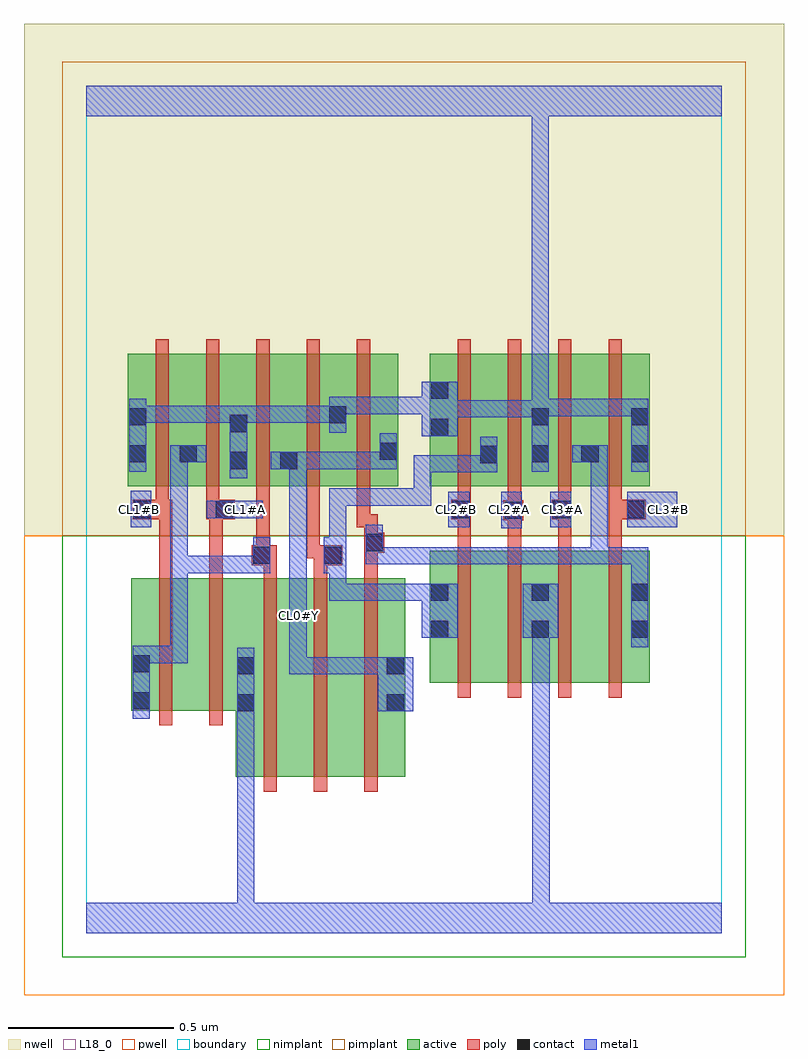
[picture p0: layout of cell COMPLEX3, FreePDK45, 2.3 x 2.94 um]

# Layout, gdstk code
import gdstk
lib = gdstk.Library(unit=1e-6, precision=1e-09)
def R(c, l, rs):  # rectangles x0, y0, x1, y1
    for r in rs: c.add(gdstk.rectangle(r[:2], r[2:], *l))
def A(c, l, x, y, w, h, nx, ny, dx, dy):  # array of equal rectangles
    R(c, l, [(x+i*dx, y+j*dy, x+i*dx+w, y+j*dy+h) for i in range(nx) for j in range(ny)])
active = (1, 0)
pwell = (2, 0)
nwell = (3, 0)
nimplant = (4, 0)
pimplant = (5, 0)
poly = (9, 0)
contact = (10, 0)
metal1 = (11, 0)
L18_0 = (18, 0)
boundary = (235, 0)

complex3 = lib.new_cell('COMPLEX3')
A(complex3, active, 0.126, 1.35, 0.212, 0.4, 3, 1, 0.152, 0)
R(complex3, active, [(0.452,0.472,0.632,1.072), (0.632,0.472,0.784,1.072), (0.784,0.472,0.964,1.072), (0.904,0.556,0.964,1.072), (0.452,0.66,0.512,0.838), (0.136,0.672,0.196,1.072), (0.136,0.672,0.316,1.072), (0.316,0.672,0.512,1.072), (1.038,0.756,1.098,1.156), (1.038,0.756,1.218,1.156), (1.218,0.756,1.402,1.156), (1.342,0.756,1.402,1.156), (1.342,0.756,1.522,1.156), (1.522,0.756,1.702,1.156), (1.642,0.756,1.702,1.156), (0.126,1.35,0.186,1.75), (0.278,1.35,0.338,1.644), (0.43,1.35,0.49,1.75), (0.582,1.35,0.79,1.75), (0.582,1.35,0.642,1.644), (0.73,1.35,0.79,1.75), (0.73,1.35,0.942,1.75), (0.882,1.35,0.942,1.644), (1.038,1.35,1.098,1.75), (1.038,1.35,1.246,1.75), (1.186,1.35,1.402,1.75), (1.342,1.35,1.402,1.75), (1.342,1.35,1.552,1.75), (1.492,1.35,1.702,1.75), (1.642,1.35,1.702,1.75), (1.186,1.416,1.246,1.644), (1.492,1.418,1.552,1.644)])
R(complex3, pwell, [(-0.188,-0.188,2.108,1.2)])
R(complex3, nwell, [(-0.188,1.2,2.108,2.748)])
R(complex3, nimplant, [(-0.072,-0.072,1.992,1.2)])
R(complex3, pimplant, [(-0.072,1.2,1.992,2.632)])
A(complex3, poly, 0.536, 0.428, 0.04, 0.688, 3, 1, 0.152, 0)
A(complex3, poly, 1.122, 0.712, 0.04, 0.488, 4, 2, 0.152, 0.594)
A(complex3, poly, 0.21, 1.306, 0.04, 0.488, 5, 1, 0.152, 0)
R(complex3, poly, [(0.22,0.628,0.26,1.116), (0.372,0.628,0.412,1.116), (0.22,1.076,0.26,1.29), (0.372,1.076,0.412,1.29), (0.536,1.076,0.576,1.152), (0.688,1.076,0.728,1.152), (0.84,1.076,0.88,1.19), (0.5,1.112,0.576,1.172), (0.688,1.112,0.774,1.172), (0.514,1.132,0.554,1.172), (0.514,1.132,0.554,1.172), (0.514,1.132,0.554,1.346), (0.666,1.132,0.728,1.172), (0.666,1.132,0.706,1.346), (0.688,1.132,0.728,1.172), (0.84,1.15,0.9,1.21), (1.122,1.16,1.162,1.29), (1.274,1.16,1.314,1.288), (1.426,1.16,1.466,1.29), (1.578,1.16,1.618,1.29), (0.84,1.17,0.88,1.266), (0.818,1.226,0.858,1.346), (0.818,1.226,0.88,1.266), (1.26,1.248,1.32,1.308), (1.274,1.248,1.314,1.288), (1.274,1.248,1.314,1.288), (0.14,1.25,0.26,1.31), (0.362,1.25,0.448,1.31), (0.372,1.25,0.412,1.29), (0.372,1.25,0.412,1.29), (1.102,1.25,1.162,1.31), (1.122,1.25,1.162,1.29), (1.122,1.25,1.162,1.29), (1.406,1.25,1.466,1.31), (1.426,1.25,1.466,1.29), (1.426,1.25,1.466,1.29), (1.578,1.25,1.618,1.29), (1.578,1.25,1.618,1.29), (1.578,1.25,1.69,1.31), (1.274,1.268,1.314,1.346), (0.21,1.27,0.25,1.346), (0.21,1.27,0.25,1.31), (0.21,1.27,0.25,1.31), (0.362,1.27,0.402,1.346), (1.122,1.27,1.162,1.346), (1.426,1.27,1.466,1.346), (1.578,1.27,1.618,1.346)])
A(complex3, contact, 1.346, 1.422, 0.052, 0.052, 3, 1, 0.15, 0)
R(complex3, contact, [(0.456,0.67,0.508,0.722), (0.908,0.67,0.96,0.722), (0.14,0.676,0.192,0.728), (0.456,0.782,0.508,0.834), (0.908,0.782,0.96,0.834), (0.14,0.788,0.192,0.84), (1.042,0.892,1.094,0.944), (1.346,0.892,1.398,0.944), (1.646,0.892,1.698,0.944), (1.042,1.004,1.094,1.056), (1.346,1.004,1.398,1.056), (1.646,1.004,1.698,1.056), (0.504,1.116,0.556,1.168), (0.718,1.116,0.77,1.168), (0.844,1.154,0.896,1.206), (1.264,1.252,1.316,1.304), (0.144,1.254,0.196,1.306), (0.392,1.254,0.444,1.306), (1.106,1.254,1.158,1.306), (1.41,1.254,1.462,1.306), (1.634,1.254,1.686,1.306), (0.434,1.402,0.486,1.454), (0.586,1.402,0.638,1.454), (1.19,1.42,1.242,1.472), (0.13,1.422,0.182,1.474), (0.282,1.422,0.334,1.474), (0.886,1.43,0.938,1.482), (1.042,1.502,1.094,1.554), (0.434,1.514,0.486,1.566), (0.13,1.534,0.182,1.586), (1.346,1.534,1.398,1.586), (1.646,1.534,1.698,1.586), (0.734,1.54,0.786,1.592), (1.042,1.614,1.094,1.666)])
R(complex3, metal1, [(0,0,1.92,0.092), (0.456,0.04,0.508,0.092), (0.456,0.04,0.508,0.092), (0.456,0.04,0.508,0.092), (0.456,0.04,0.508,0.092), (0.456,0.04,0.508,0.092), (0.456,0.04,0.508,0.092), (0.456,0.04,0.508,0.092), (0.456,0.04,0.508,0.092), (0.456,0.04,0.508,0.694), (1.348,0.04,1.4,0.092), (1.348,0.04,1.4,0.092), (1.348,0.04,1.4,0.092), (1.348,0.04,1.4,0.092), (1.348,0.04,1.4,0.092), (1.348,0.04,1.4,0.092), (1.348,0.04,1.4,0.092), (1.348,0.04,1.4,0.092), (1.348,0.04,1.4,0.944), (0.456,0.642,0.508,0.862), (0.14,0.648,0.192,0.868), (0.88,0.67,0.988,0.834), (0.614,0.782,0.666,0.834), (0.614,0.782,0.776,0.834), (0.614,0.782,0.666,0.958), (0.724,0.782,0.776,0.834), (0.724,0.782,0.776,0.834), (0.724,0.782,0.776,0.834), (0.724,0.782,0.932,0.834), (0.88,0.782,0.932,0.834), (0.88,0.782,0.932,0.834), (0.14,0.816,0.192,0.868), (0.14,0.816,0.192,0.868), (0.14,0.816,0.306,0.868), (0.254,0.816,0.306,0.868), (0.254,0.816,0.306,1.14), (1.646,0.864,1.698,1.084), (1.014,0.892,1.122,1.056), (1.318,0.892,1.426,1.056), (1.348,0.892,1.4,0.944), (1.348,0.892,1.4,0.944), (1.348,0.892,1.4,0.944), (1.348,0.892,1.4,0.944), (0.614,0.906,0.666,0.958), (0.614,0.906,0.666,0.958), (0.614,0.906,0.666,1.014), (0.614,0.962,0.666,1.454), (0.734,1.004,0.786,1.056), (0.734,1.004,0.896,1.056), (0.734,1.004,0.786,1.196), (0.844,1.004,0.896,1.056), (0.844,1.004,0.896,1.056), (0.844,1.004,0.896,1.056), (0.844,1.004,1.066,1.056), (1.646,1.032,1.698,1.166), (0.254,1.088,0.306,1.14), (0.254,1.088,0.416,1.14), (0.254,1.088,0.306,1.474), (0.364,1.088,0.416,1.14), (0.364,1.088,0.416,1.14), (0.364,1.088,0.416,1.14), (0.364,1.088,0.556,1.14), (0.504,1.088,0.556,1.196), (0.718,1.088,0.77,1.196), (0.844,1.114,1.132,1.166), (0.844,1.114,0.896,1.178), (1.08,1.114,1.132,1.166), (1.08,1.114,1.132,1.166), (1.08,1.114,1.132,1.166), (1.08,1.114,1.26,1.166), (1.208,1.114,1.26,1.166), (1.208,1.114,1.26,1.166), (1.208,1.114,1.26,1.166), (1.208,1.114,1.41,1.166), (1.358,1.114,1.41,1.166), (1.358,1.114,1.41,1.166), (1.358,1.114,1.41,1.166), (1.358,1.114,1.576,1.166), (1.524,1.114,1.576,1.166), (1.524,1.114,1.698,1.166), (1.524,1.114,1.576,1.474), (1.646,1.114,1.698,1.166), (1.646,1.114,1.698,1.166), (1.646,1.114,1.698,1.166), (0.844,1.126,0.896,1.178), (0.844,1.126,0.896,1.234), (0.718,1.144,0.786,1.196), (0.734,1.144,0.786,1.196), (0.734,1.144,0.786,1.344), (1.254,1.224,1.316,1.334), (0.134,1.226,0.196,1.336), (1.094,1.226,1.158,1.334), (1.402,1.226,1.466,1.334), (1.634,1.226,1.786,1.334), (0.364,1.254,0.534,1.306), (0.734,1.292,0.786,1.344), (0.734,1.292,0.896,1.344), (0.844,1.292,0.896,1.344), (0.844,1.292,0.896,1.344), (0.844,1.292,0.896,1.344), (0.844,1.292,1.042,1.344), (0.99,1.292,1.042,1.344), (0.99,1.292,1.042,1.444), (0.434,1.374,0.486,1.594), (0.99,1.392,1.042,1.444), (0.99,1.392,1.15,1.444), (1.098,1.392,1.15,1.444), (1.098,1.392,1.242,1.444), (1.19,1.392,1.242,1.5), (0.13,1.394,0.182,1.614), (1.346,1.394,1.398,1.614), (1.646,1.394,1.698,1.614), (0.558,1.402,0.666,1.454), (0.614,1.402,0.666,1.454), (0.614,1.402,0.666,1.454), (0.614,1.402,0.666,1.454), (0.614,1.402,0.666,1.454), (0.614,1.402,0.776,1.454), (0.724,1.402,0.776,1.454), (0.724,1.402,0.932,1.454), (0.88,1.402,0.932,1.454), (0.88,1.402,0.938,1.454), (0.886,1.402,0.938,1.51), (0.254,1.422,0.306,1.474), (0.254,1.422,0.306,1.474), (0.254,1.422,0.362,1.474), (1.468,1.422,1.576,1.474), (1.524,1.422,1.576,1.474), (1.524,1.422,1.576,1.474), (1.014,1.502,1.122,1.666), (0.734,1.512,0.786,1.62), (0.13,1.542,0.302,1.594), (0.25,1.542,0.302,1.594), (0.25,1.542,0.302,1.594), (0.25,1.542,0.302,1.594), (0.25,1.542,0.412,1.594), (0.36,1.542,0.412,1.594), (0.36,1.542,0.486,1.594), (0.434,1.542,0.556,1.594), (0.504,1.542,0.556,1.594), (0.504,1.542,0.596,1.594), (0.544,1.542,0.596,1.594), (0.544,1.542,0.786,1.594), (0.734,1.542,0.786,1.594), (0.734,1.542,0.786,1.594), (1.07,1.558,1.122,1.61), (1.07,1.558,1.122,1.61), (1.07,1.558,1.26,1.61), (1.208,1.558,1.26,1.61), (1.208,1.558,1.26,1.61), (1.208,1.558,1.26,1.61), (1.208,1.558,1.398,1.61), (1.346,1.562,1.398,1.614), (1.346,1.562,1.398,1.614), (1.346,1.562,1.398,1.614), (1.346,1.562,1.398,1.614), (1.346,1.562,1.588,1.614), (1.346,1.562,1.398,2.52), (1.536,1.562,1.588,1.614), (1.536,1.562,1.698,1.614), (1.646,1.562,1.698,1.614), (1.646,1.562,1.698,1.614), (0.734,1.568,0.896,1.62), (0.844,1.568,0.896,1.62), (0.844,1.568,0.896,1.62), (0.844,1.568,0.896,1.62), (0.844,1.568,1.066,1.62), (0,2.468,1.92,2.56), (1.346,2.468,1.398,2.52), (1.346,2.468,1.398,2.52), (1.346,2.468,1.398,2.52), (1.346,2.468,1.398,2.52), (1.346,2.468,1.398,2.52), (1.346,2.468,1.398,2.52), (1.346,2.468,1.398,2.52), (1.346,2.468,1.398,2.52), (1.346,2.468,1.398,2.52), (1.346,2.468,1.398,2.52), (1.346,2.468,1.398,2.52), (1.346,2.468,1.398,2.52), (1.346,2.468,1.398,2.52), (1.346,2.468,1.398,2.52)])
A(complex3, L18_0, 1.094, 1.254, 0.052, 0.052, 3, 1, 0.16, 0)
R(complex3, L18_0, [(0,0,1.92,0.092), (0.456,0.04,0.508,0.092), (0.456,0.04,0.508,0.092), (0.456,0.04,0.508,0.092), (0.456,0.04,0.508,0.092), (0.456,0.04,0.508,0.092), (0.456,0.04,0.508,0.092), (0.456,0.04,0.508,0.092), (0.456,0.04,0.508,0.092), (0.456,0.04,0.508,0.694), (1.348,0.04,1.4,0.092), (1.348,0.04,1.4,0.092), (1.348,0.04,1.4,0.092), (1.348,0.04,1.4,0.092), (1.348,0.04,1.4,0.092), (1.348,0.04,1.4,0.092), (1.348,0.04,1.4,0.092), (1.348,0.04,1.4,0.092), (1.348,0.04,1.4,0.944), (0.456,0.642,0.508,0.862), (0.88,0.67,0.988,0.834), (0.614,0.782,0.666,0.834), (0.614,0.782,0.776,0.834), (0.614,0.782,0.666,0.958), (0.724,0.782,0.776,0.834), (0.724,0.782,0.776,0.834), (0.724,0.782,0.776,0.834), (0.724,0.782,0.932,0.834), (0.88,0.782,0.932,0.834), (0.88,0.782,0.932,0.834), (1.318,0.892,1.426,1.056), (1.348,0.892,1.4,0.944), (1.348,0.892,1.4,0.944), (1.348,0.892,1.4,0.944), (1.348,0.892,1.4,0.944), (0.614,0.906,0.666,0.958), (0.614,0.906,0.666,0.958), (0.614,0.906,0.666,1.014), (0.614,0.934,0.666,0.986), (0.614,0.962,0.666,1.454), (1.254,1.224,1.316,1.334), (0.134,1.226,0.196,1.336), (1.094,1.226,1.158,1.334), (1.402,1.226,1.466,1.334), (1.634,1.226,1.786,1.334), (0.134,1.254,0.186,1.306), (0.364,1.254,0.534,1.306), (0.454,1.254,0.506,1.306), (1.734,1.254,1.786,1.306), (0.434,1.374,0.486,1.594), (0.13,1.394,0.182,1.614), (1.346,1.394,1.398,1.614), (1.646,1.394,1.698,1.614), (0.558,1.402,0.666,1.454), (0.614,1.402,0.666,1.454), (0.614,1.402,0.666,1.454), (0.614,1.402,0.666,1.454), (0.614,1.402,0.666,1.454), (0.614,1.402,0.776,1.454), (0.724,1.402,0.776,1.454), (0.724,1.402,0.932,1.454), (0.88,1.402,0.932,1.454), (0.88,1.402,0.938,1.454), (0.886,1.402,0.938,1.51), (1.014,1.502,1.122,1.666), (0.734,1.512,0.786,1.62), (0.13,1.542,0.302,1.594), (0.25,1.542,0.302,1.594), (0.25,1.542,0.302,1.594), (0.25,1.542,0.302,1.594), (0.25,1.542,0.412,1.594), (0.36,1.542,0.412,1.594), (0.36,1.542,0.486,1.594), (0.434,1.542,0.556,1.594), (0.504,1.542,0.556,1.594), (0.504,1.542,0.596,1.594), (0.544,1.542,0.596,1.594), (0.544,1.542,0.786,1.594), (0.734,1.542,0.786,1.594), (0.734,1.542,0.786,1.594), (1.07,1.558,1.122,1.61), (1.07,1.558,1.122,1.61), (1.07,1.558,1.26,1.61), (1.208,1.558,1.26,1.61), (1.208,1.558,1.26,1.61), (1.208,1.558,1.26,1.61), (1.208,1.558,1.398,1.61), (1.346,1.562,1.398,1.614), (1.346,1.562,1.398,1.614), (1.346,1.562,1.398,1.614), (1.346,1.562,1.398,1.614), (1.346,1.562,1.588,1.614), (1.346,1.562,1.398,2.52), (1.536,1.562,1.588,1.614), (1.536,1.562,1.698,1.614), (1.646,1.562,1.698,1.614), (1.646,1.562,1.698,1.614), (0.734,1.568,0.896,1.62), (0.844,1.568,0.896,1.62), (0.844,1.568,0.896,1.62), (0.844,1.568,0.896,1.62), (0.844,1.568,1.066,1.62), (0,2.468,1.92,2.56), (1.346,2.468,1.398,2.52), (1.346,2.468,1.398,2.52), (1.346,2.468,1.398,2.52), (1.346,2.468,1.398,2.52), (1.346,2.468,1.398,2.52), (1.346,2.468,1.398,2.52), (1.346,2.468,1.398,2.52), (1.346,2.468,1.398,2.52), (1.346,2.468,1.398,2.52), (1.346,2.468,1.398,2.52), (1.346,2.468,1.398,2.52), (1.346,2.468,1.398,2.52), (1.346,2.468,1.398,2.52), (1.346,2.468,1.398,2.52)])
R(complex3, boundary, [(0,0,1.92,2.56)])
complex3.add(gdstk.Label('CL0#Y', (0.64,0.96), layer=11, texttype=0))
complex3.add(gdstk.Label('CL1#A', (0.48,1.28), layer=11, texttype=0))
complex3.add(gdstk.Label('CL1#B', (0.16,1.28), layer=11, texttype=0))
complex3.add(gdstk.Label('CL2#A', (1.28,1.28), layer=11, texttype=0))
complex3.add(gdstk.Label('CL2#B', (1.12,1.28), layer=11, texttype=0))
complex3.add(gdstk.Label('CL3#A', (1.44,1.28), layer=11, texttype=0))
complex3.add(gdstk.Label('CL3#B', (1.76,1.28), layer=11, texttype=0))

lib.write_gds('COMPLEX3.gds')
